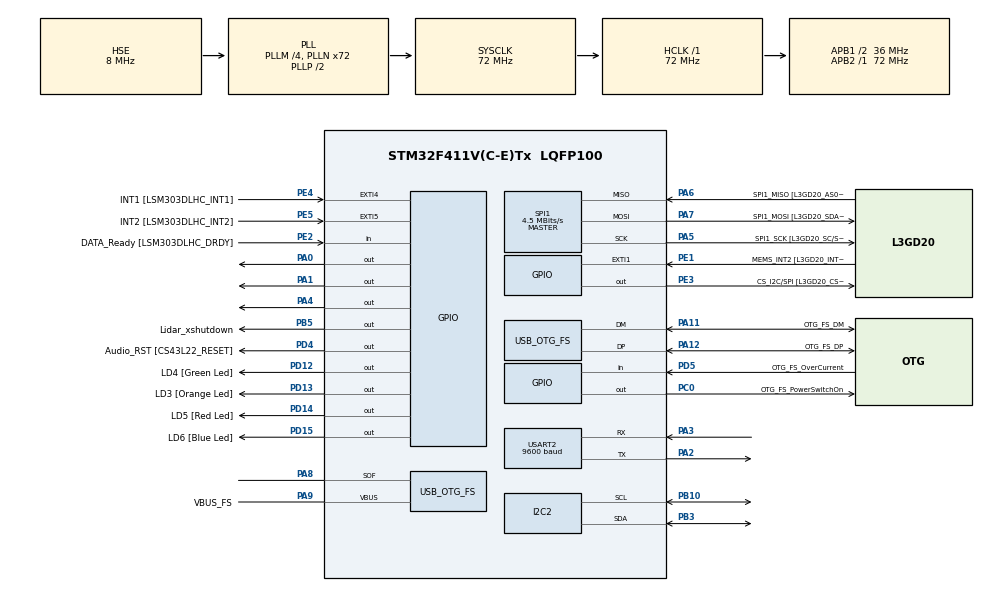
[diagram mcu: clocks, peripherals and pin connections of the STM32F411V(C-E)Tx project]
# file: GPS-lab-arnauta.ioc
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Dma.Request0=USART2_RX
Dma.USART2_RX.0.Direction=DMA_PERIPH_TO_MEMORY
Dma.USART2_RX.0.FIFOMode=DMA_FIFOMODE_DISABLE
Dma.USART2_RX.0.Instance=DMA1_Stream5
Dma.USART2_RX.0.MemDataAlignment=DMA_MDATAALIGN_BYTE
Dma.USART2_RX.0.MemInc=DMA_MINC_ENABLE
Dma.USART2_RX.0.Mode=DMA_CIRCULAR
Dma.USART2_RX.0.PeriphDataAlignment=DMA_PDATAALIGN_BYTE
Dma.USART2_RX.0.PeriphInc=DMA_PINC_DISABLE
Dma.USART2_RX.0.Priority=DMA_PRIORITY_LOW
Mcu.Family=STM32F4
Mcu.Name=STM32F411V(C-E)Tx
Mcu.Package=LQFP100
NVIC.DMA1_Stream5_IRQn=true\:0\:0\:false\:false\:true\:false\:true\:true
NVIC.OTG_FS_IRQn=true\:0\:0\:false\:false\:true\:true\:true\:true
NVIC.PriorityGroup=NVIC_PRIORITYGROUP_0
NVIC.SPI1_IRQn=true\:0\:0\:false\:false\:true\:true\:true\:true
NVIC.USART2_IRQn=true\:0\:0\:false\:false\:true\:true\:true\:true
PA0-WKUP.GPIO_Speed=GPIO_SPEED_FREQ_HIGH
PA0-WKUP.Signal=GPIO_Output
PA1.GPIO_Speed=GPIO_SPEED_FREQ_HIGH
PA1.Signal=GPIO_Output
PA10.GPIO_Label=OTG_FS_ID
PA10.Signal=USB_OTG_FS_ID
PA11.GPIO_Label=OTG_FS_DM
PA11.Mode=Device_Only
PA11.Signal=USB_OTG_FS_DM
PA12.GPIO_Label=OTG_FS_DP
PA12.Mode=Device_Only
PA12.Signal=USB_OTG_FS_DP
PA13.GPIO_Label=SWDIO
PA13.Mode=Serial_Wire
PA13.Signal=SYS_JTMS-SWDIO
PA14.GPIO_Label=SWCLK
PA14.Mode=Serial_Wire
PA14.Signal=SYS_JTCK-SWCLK
PA2.Mode=Asynchronous
PA2.Signal=USART2_TX
PA3.Mode=Asynchronous
PA3.Signal=USART2_RX
PA4.GPIO_Speed=GPIO_SPEED_FREQ_HIGH
PA4.Signal=GPIO_Output
PA5.GPIO_Label=SPI1_SCK [L3GD20_SC/SPC]
PA5.Mode=Full_Duplex_Master
PA5.Signal=SPI1_SCK
PA6.GPIO_Label=SPI1_MISO [L3GD20_AS0/SDO]
PA6.Mode=Full_Duplex_Master
PA6.Signal=SPI1_MISO
PA7.GPIO_Label=SPI1_MOSI [L3GD20_SDA/SDI/SDO]
PA7.Mode=Full_Duplex_Master
PA7.Signal=SPI1_MOSI
PA8.Mode=Activate_SOF_FS
PA8.Signal=USB_OTG_FS_SOF
PA9.GPIO_Label=VBUS_FS
PA9.Mode=Activate_VBUS
PA9.Signal=USB_OTG_FS_VBUS
PB10.GPIO_Pu=GPIO_PULLUP
PB10.GPIO_Speed=GPIO_SPEED_FREQ_LOW
PB10.Mode=I2C
PB10.Signal=I2C2_SCL
PB3.GPIO_Pu=GPIO_PULLUP
PB3.GPIO_Speed=GPIO_SPEED_FREQ_LOW
PB3.Mode=I2C
PB3.Signal=I2C2_SDA
PB5.GPIO_Label=Lidar_xshutdown
PB5.PinState=GPIO_PIN_SET
PB5.Signal=GPIO_Output
PC0.GPIO_Label=OTG_FS_PowerSwitchOn
PC0.PinState=GPIO_PIN_SET
PC0.Signal=GPIO_Output
PC10.GPIO_Label=I2S3_SCK [CS43L22_SCLK]
PC10.GPIO_Mode=GPIO_MODE_AF_PP
PC10.GPIO_PuPd=GPIO_NOPULL
PC10.GPIO_Speed=GPIO_SPEED_FREQ_LOW
PC10.Signal=I2S3_CK
PC12.GPIO_Label=I2S3_SD [CS43L22_SDIN]
PC12.GPIO_Mode=GPIO_MODE_AF_PP
PC12.GPIO_PuPd=GPIO_NOPULL
PC12.GPIO_Speed=GPIO_SPEED_FREQ_LOW
PC12.Signal=I2S3_SD
PC14-OSC32_IN.GPIO_Label=PC14-OSC32_IN
PC14-OSC32_IN.Signal=RCC_OSC32_IN
PC15-OSC32_OUT.GPIO_Label=PC15-OSC32_OUT
PC15-OSC32_OUT.Signal=RCC_OSC32_OUT
PC3.GPIO_Label=PDM_OUT [MP45DT02_DOUT]
PC3.Signal=I2S2_SD
PC7.GPIO_Label=I2S3_MCK [CS43L22_MCLK]
PC7.GPIO_Mode=GPIO_MODE_AF_PP
PC7.GPIO_PuPd=GPIO_NOPULL
PC7.GPIO_Speed=GPIO_SPEED_FREQ_LOW
PC7.Signal=I2S3_MCK
PD12.GPIO_Label=LD4 [Green Led]
PD12.GPIO_PuPd=GPIO_NOPULL
PD12.GPIO_Speed=GPIO_SPEED_FREQ_LOW
PD12.Signal=GPIO_Output
PD13.GPIO_Label=LD3 [Orange Led]
PD13.GPIO_PuPd=GPIO_NOPULL
PD13.GPIO_Speed=GPIO_SPEED_FREQ_LOW
PD13.Signal=GPIO_Output
PD14.GPIO_Label=LD5 [Red Led]
PD14.GPIO_PuPd=GPIO_NOPULL
PD14.GPIO_Speed=GPIO_SPEED_FREQ_LOW
PD14.Signal=GPIO_Output
PD15.GPIO_Label=LD6 [Blue Led]
PD15.GPIO_PuPd=GPIO_NOPULL
PD15.GPIO_Speed=GPIO_SPEED_FREQ_LOW
PD15.Signal=GPIO_Output
PD4.GPIO_Label=Audio_RST [CS43L22_RESET]
PD4.Signal=GPIO_Output
PD5.GPIO_Label=OTG_FS_OverCurrent
PD5.Signal=GPIO_Input
PE1.GPIO_Label=MEMS_INT2 [L3GD20_INT2]
PE1.GPIO_ModeDefaultEXTI=GPIO_MODE_EVT_RISING
PE1.Signal=GPXTI1
PE2.GPIO_Label=DATA_Ready [LSM303DLHC_DRDY]
PE2.Signal=GPIO_Input
PE3.GPIO_Label=CS_I2C/SPI [L3GD20_CS_I2C/SPI]
PE3.Signal=GPIO_Output
PE4.GPIO_Label=INT1 [LSM303DLHC_INT1]
PE4.GPIO_ModeDefaultEXTI=GPIO_MODE_EVT_RISING
PE4.Signal=GPXTI4
PE5.GPIO_Label=INT2 [LSM303DLHC_INT2]
PE5.GPIO_ModeDefaultEXTI=GPIO_MODE_EVT_RISING
PE5.Signal=GPXTI5
PH0\ -\ OSC_IN.GPIO_Label=PH0-OSC_IN
PH0\ -\ OSC_IN.Mode=HSE-External-Oscillator
PH0\ -\ OSC_IN.Signal=RCC_OSC_IN
PH1\ -\ OSC_OUT.GPIO_Label=PH1-OSC_OUT
PH1\ -\ OSC_OUT.Mode=HSE-External-Oscillator
PH1\ -\ OSC_OUT.Signal=RCC_OSC_OUT
ProjectManager.HeapSize=0x200
ProjectManager.StackSize=0x400
ProjectManager.TargetToolchain=STM32CubeIDE
RCC.48MHZClocksFreq_Value=48000000
RCC.AHBFreq_Value=72000000
RCC.APB1CLKDivider=RCC_HCLK_DIV2
RCC.APB1Freq_Value=36000000
RCC.APB1TimFreq_Value=72000000
RCC.APB2Freq_Value=72000000
RCC.APB2TimFreq_Value=72000000
RCC.CortexFreq_Value=72000000
RCC.HCLKFreq_Value=72000000
RCC.HSE_VALUE=8000000
RCC.HSI_VALUE=16000000
RCC.LSE_VALUE=32768
RCC.PLLI2SM=4
RCC.PLLM=4
RCC.PLLN=72
RCC.PLLQ=3
RCC.SYSCLKFreq_VALUE=72000000
RCC.SYSCLKSource=RCC_SYSCLKSOURCE_PLLCLK
RCC.VCOOutputFreq_Value=144000000
SPI1.BaudRatePrescaler=SPI_BAUDRATEPRESCALER_16
SPI1.CalculateBaudRate=4.5 MBits/s
SPI1.Direction=SPI_DIRECTION_2LINES
SPI1.Mode=SPI_MODE_MASTER
SPI1.VirtualType=VM_MASTER
USART2.BaudRate=9600
USART2.VirtualMode=VM_ASYNC
USB_DEVICE.CLASS_NAME_FS=CDC
USB_DEVICE.VirtualMode=Cdc
USB_DEVICE.VirtualModeFS=Cdc_FS
USB_OTG_FS.VirtualMode=Device_Only
VP_USB_DEVICE_VS_USB_DEVICE_CDC_FS.Mode=CDC_FS
board=STM32F411E-DISCO

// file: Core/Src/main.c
/* USER CODE BEGIN Header */
/**
  ******************************************************************************
  * @file           : main.c
  * @brief          : Main program body
  ******************************************************************************
  * @attention
  *
  * Copyright (c) 2025 STMicroelectronics.
  * All rights reserved.
  *
  * This software is licensed under terms that can be found in the LICENSE file
  * in the root directory of this software component.
  * If no LICENSE file comes with this software, it is provided AS-IS.
  *
  ******************************************************************************
  */
/* USER CODE END Header */
#include "main.h"
#include "usb_device.h"

/* USER CODE BEGIN Includes */
#include "ILI9341/ILI9341_GFX.h"
#include "ILI9341/ILI9341_STM32_Driver.h"
#include "VL53L0X/core/inc/vl53l0x_api.h"

/* USER CODE END Includes */

/* USER CODE BEGIN PTD */
void DWT_Init(void)
{
    CoreDebug->DEMCR |= CoreDebug_DEMCR_TRCENA_Msk;
    DWT->CYCCNT = 0U;
    DWT->CTRL |= DWT_CTRL_CYCCNTENA_Msk;
}
/* USER CODE END PTD */

/* USER CODE BEGIN PD */
#include "string.h"
#include "stdbool.h"
#include "stdlib.h"
#include "stdio.h"

#define BUFFER_SIZE 512
#define NMEA_MAX_SENTENCE_SIZE (uint8_t)82u
#define NMEA_SENTENCE_CRC_START '*'
#define NMEA_SENTENCE_END "\r\n"
#define NMEA_G "$GNRMC"
#define STAT_RECORDS_COUNT 128u
#define NMEA_SENTENCE_COUNT 128u
#define TERM_UTC_OUTPUT_FORMAT "\r\nUTC time: %s\r\n"
#define TERM_DATE_OUTPUT_FORMAT "\r\nCurrent date: %s\r\n"
#define TERM_STATUS_OUTPUT_FORMAT "\r\nStatus: %c\r\n"
#define TERM_POS_OUTPUT_FORMAT "\r\nLat: %s, %c; Lon: %s, %c\r\n"

#define VERSION_STR "\r\nVersion: 0.0.1, build time: 9/18/2025, UART baudrate: 9600, USB speed: FS\r\n"

#define TERM_CMD_VERSION "VER"
#define TERM_CMD_GET_POS "GET POS"
#define TERM_CMD_GET_TIME "GET TIME"
#define TERM_CMD_GET_DATE "GET DATE"
#define TERM_CMD_GET_STATUS "GET STATUS"
#define TERM_CMD_RAW_ON "RAW ON"
#define TERM_CMD_RAW_OFF "RAW OFF"

#define VL53L0X_ADDR_8BIT (0x29 << 1)

uint8_t usb_term_buffer[BUFFER_SIZE];
uint8_t usb_buffer_index = 0;
uint32_t usb_received_len = 0;

uint8_t dma_rx_buffer[BUFFER_SIZE];
uint16_t data_size = 0;
_Bool is_received_new_data = false;
_Bool is_raw_on = true;
char utc[16] = "";
char year[16] = "";
char status_A_V = '-';
char lon[16] = "";
char lon_stat = '-';
char lat[16] = "";
char lat_stat = '-';
uint32_t uid = 0U;

char distance[20] = "";

typedef struct
{
  uint16_t chip_id;
  uint16_t revision_id;
  uint16_t device_address;
} VL53L0X_Info_t;

/* USER CODE END PD */

I2C_HandleTypeDef hi2c2;

SPI_HandleTypeDef hspi1;

UART_HandleTypeDef huart2;
DMA_HandleTypeDef hdma_usart2_rx;

/* USER CODE BEGIN PV */
VL53L0X_RangingMeasurementData_t RangingData;
VL53L0X_Dev_t  vl53l0x_c;
VL53L0X_DEV Dev = &vl53l0x_c;

char str_data[BUFFER_SIZE + 1u] = {0};

typedef struct
{
	uint16_t received_bytes;
} STAT_record_t;

typedef struct
{
	STAT_record_t records[STAT_RECORDS_COUNT];
	uint16_t write_index;
	uint16_t records_count;
	uint16_t ne_count;
	uint16_t ore_count;
	uint16_t fe_count;
	uint16_t pe_count;
} STAT_t;

STAT_t statistic = {0};

void STAT_AddRecord(uint16_t bytes_count)
{
	if (statistic.write_index >= STAT_RECORDS_COUNT)
	{
		statistic.write_index = 0;
		statistic.records[statistic.write_index].received_bytes = bytes_count;

	}
	else
	{
		statistic.records[statistic.write_index].received_bytes = bytes_count;
		statistic.write_index++;
	}
	statistic.records_count++;
}

typedef struct
{
	uint8_t packet[NMEA_MAX_SENTENCE_SIZE];
	uint8_t packet_crc;
	uint8_t calculated_crc;
	_Bool is_crc_valid;
} NMEA_sentence_t;

typedef struct
{
	NMEA_sentence_t sentences[NMEA_SENTENCE_COUNT];
	uint64_t sentence_count;
	uint8_t write_index;
	uint8_t read_index;
} NMEA_que_t;

typedef struct
{
	NMEA_que_t que;
} NMEA_t;

typedef struct
{
	uint8_t addr[127];
	uint8_t dev_count;
} I2C_devices_list_t;

NMEA_t nmea = {0};

void GetDataFromNMEA(NMEA_sentence_t* sentence)
{
	if (!sentence)
		return;

	const char delimiter = ',';
	char copy_string[128];
	char* token = NULL;
	char* start_pos = NULL;
	char* end_pos = NULL;
	uint8_t frame = 0;
	uint8_t string_index = 0;

	strcpy(copy_string, sentence->packet);
	char* tmp_ptr = copy_string;
	start_pos = strchr(tmp_ptr, delimiter);
	start_pos++;
	if (*start_pos == '\0')
	{
		return;
	}

	while ((*start_pos != '\0') && (end_pos = strchr(start_pos, delimiter)))
	{
		frame++;
		if (frame == 1)
		{
			memcpy(utc, start_pos, (end_pos - start_pos));
		}
		else if (frame == 2)
		{
			if (end_pos - start_pos == 1)
				status_A_V = *start_pos;
		}
		else if (frame == 3)
		{
			memcpy(lat, start_pos, (end_pos - start_pos));
		}
		else if (frame == 4)
		{
			if (end_pos - start_pos == 1)
				lat_stat = *start_pos;
		}
		else if (frame == 5)
		{
			memcpy(lon, start_pos, (end_pos - start_pos));
		}
		else if (frame == 6)
		{
			if (end_pos - start_pos == 1)
				lon_stat = *start_pos;
		}
		else if (frame == 9)
		{
			memcpy(year, start_pos, (end_pos - start_pos));
		}

		start_pos = end_pos + 1;

	}
}

static void CheckSentenceCrc(NMEA_sentence_t* sentence)
{
	if (!sentence)
		return;

	uint8_t crc = 0;
	uint8_t index = 1;
	uint8_t packet_crc = 0;

	char* end_ptr = NULL;

	while(sentence->packet[index] != NMEA_SENTENCE_CRC_START)
	{
		crc ^= sentence->packet[index];
		index++;
	}

	packet_crc = strtol(&sentence->packet[index + 1], &end_ptr, 16);

	sentence->packet_crc = packet_crc;
	sentence->calculated_crc = crc;
	sentence->is_crc_valid = packet_crc == crc;
}

void NMEA_AddtoQueue(uint8_t* start_pos, uint8_t* end_pos)
{
	uint16_t size = end_pos - start_pos;

	if (size > NMEA_MAX_SENTENCE_SIZE)
		return;

	if (nmea.que.write_index >= NMEA_SENTENCE_COUNT)
	{
		nmea.que.write_index = 0;
	}
	memcpy(nmea.que.sentences[nmea.que.write_index].packet, start_pos, size);
	nmea.que.sentences[nmea.que.write_index].packet[size] = '\0';
	CheckSentenceCrc(&nmea.que.sentences[nmea.que.write_index]);
	GetDataFromNMEA(&nmea.que.sentences[nmea.que.write_index]);
	nmea.que.write_index++;
	nmea.que.sentence_count++;
}

NMEA_sentence_t* NMEA_ReadFromQueue(void)
{
	NMEA_sentence_t* sentence_ptr = NULL;

	if (nmea.que.sentence_count > 0)
	{
		nmea.que.sentence_count--;

		sentence_ptr = &nmea.que.sentences[nmea.que.read_index];

		nmea.que.read_index++;

		if (nmea.que.read_index == NMEA_SENTENCE_COUNT)
		{
			nmea.que.read_index = 0;
		}
	}

	return sentence_ptr;
}

void ParseGpsData(uint8_t* data_ptr, uint32_t length)
{
	char* start_pos = NULL;
	char* end_pos = NULL;
	char* is_rmc_string = NULL;

	if (data_ptr == NULL)
	{
		return;
	}

	memcpy(str_data, data_ptr, length);
	str_data[length] = '\0';
	char* tmp_ptr = str_data;

	while ((start_pos = strstr(tmp_ptr, NMEA_G)))
	{
		if ((end_pos = strstr(start_pos, NMEA_SENTENCE_END)))
		{
			NMEA_AddtoQueue(start_pos, end_pos);
			tmp_ptr = end_pos;
		}
		else
		{
			return;
		}
	}
}

void HAL_UARTEx_RxEventCallback(UART_HandleTypeDef *huart, uint16_t Size)
{
	if (huart == &huart2)
	{
		is_received_new_data = true;
		data_size = Size;
	}
	else
	{
		Error_Handler();
	}
}

void HAL_UART_ErrorCallback(UART_HandleTypeDef *huart)
{
	if (huart->ErrorCode & HAL_UART_ERROR_PE)
	{
		statistic.pe_count++;
	}
	if (huart->ErrorCode & HAL_UART_ERROR_NE)
	{
		statistic.ne_count++;
	}
	if (huart->ErrorCode & HAL_UART_ERROR_FE)
	{
		statistic.fe_count++;
	}
	if (huart->ErrorCode & HAL_UART_ERROR_ORE)
	{
		statistic.ore_count++;
	}
}

I2C_devices_list_t* I2C_CheckBusDevices(void)
{
	static I2C_devices_list_t i2c_devices = {0};

	for(uint32_t i = 0; i < 128U; i++)
	{
		uint16_t adress = i << 1;
		if(HAL_I2C_IsDeviceReady(&hi2c2, adress, 1, HAL_MAX_DELAY) == HAL_OK)
		{
			i2c_devices.addr[i2c_devices.dev_count] = adress;
			i2c_devices.dev_count++;
		}
	}
	return &i2c_devices;
}

VL53L0X_Info_t Get_VL53L0X_Info_Raw(void)
{
    VL53L0X_Info_t sensor_info = {0};
    uint8_t read_buffer = 0;
    const uint16_t vl53_address = VL53L0X_ADDR_8BIT;
    if (HAL_I2C_IsDeviceReady(&hi2c2, vl53_address, 1, HAL_MAX_DELAY) == HAL_OK)
    {
        sensor_info.device_address = vl53_address;
        if (HAL_I2C_Mem_Read(&hi2c2, vl53_address, 0xC0, I2C_MEMADD_SIZE_8BIT, &read_buffer, 1, HAL_MAX_DELAY) == HAL_OK)
        {
            sensor_info.chip_id = read_buffer;
        }
        if (HAL_I2C_Mem_Read(&hi2c2, vl53_address, 0xC2, I2C_MEMADD_SIZE_8BIT, &read_buffer, 1, HAL_MAX_DELAY) == HAL_OK)
        {
            sensor_info.revision_id = read_buffer;
        }
    }
    return sensor_info;
}

VL53L0X_Info_t my_lidar_info = {0};
/* USER CODE END PV */

void SystemClock_Config(void);
void MX_GPIO_Init(void);
static void MX_DMA_Init(void);
void MX_SPI1_Init(void);
static void MX_USART2_UART_Init(void);
static void MX_I2C2_Init(void);

/* USER CODE BEGIN 0 */
void LidarInit() {
	uint32_t refSpadCount;
	uint8_t isApertureSpads;
	uint8_t VhvSettings;
	uint8_t PhaseCal;
	VL53L0X_WaitDeviceBooted( Dev );
	VL53L0X_DataInit( Dev );
	VL53L0X_StaticInit( Dev );
	VL53L0X_PerformRefCalibration(Dev, &VhvSettings, &PhaseCal);
	VL53L0X_PerformRefSpadManagement(Dev, &refSpadCount, &isApertureSpads);
	VL53L0X_SetDeviceMode(Dev, VL53L0X_DEVICEMODE_SINGLE_RANGING);

	VL53L0X_SetLimitCheckEnable(Dev, VL53L0X_CHECKENABLE_SIGMA_FINAL_RANGE, 1);
	VL53L0X_SetLimitCheckEnable(Dev, VL53L0X_CHECKENABLE_SIGNAL_RATE_FINAL_RANGE, 1);
	VL53L0X_SetLimitCheckValue(Dev, VL53L0X_CHECKENABLE_SIGNAL_RATE_FINAL_RANGE, (FixPoint1616_t)(0.1*65536));
	VL53L0X_SetLimitCheckValue(Dev, VL53L0X_CHECKENABLE_SIGMA_FINAL_RANGE, (FixPoint1616_t)(60*65536));
	VL53L0X_SetMeasurementTimingBudgetMicroSeconds(Dev, 33000);
	VL53L0X_SetVcselPulsePeriod(Dev, VL53L0X_VCSEL_PERIOD_PRE_RANGE, 18);
	VL53L0X_SetVcselPulsePeriod(Dev, VL53L0X_VCSEL_PERIOD_FINAL_RANGE, 14);
}

void LCD_Init(void)
{
	uint16_t y_init_pos = 0u;
	char term_output[256] = {0};

	(void)snprintf(term_output, 256, "UID: %x", uid);

	ILI9341_Draw_Text(term_output, 7, y_init_pos, WHITE, 2, BLACK);
	y_init_pos += 16u;
	ILI9341_Draw_Text("UTC time: ", 7, y_init_pos, WHITE, 2, BLACK);
	y_init_pos += 16u;
	ILI9341_Draw_Text("Date: ", 7, y_init_pos, WHITE, 2, BLACK);
	y_init_pos += 16u;
	ILI9341_Draw_Text("Lat: ", 7, y_init_pos, WHITE, 2, BLACK);
	y_init_pos += 16u;
	ILI9341_Draw_Text("Lon: ", 7, y_init_pos, WHITE, 2, BLACK);
	y_init_pos += 16u;
    ILI9341_Draw_Text("Distance: ", 7, y_init_pos, WHITE, 2, BLACK);
    y_init_pos += 16u;
    ILI9341_Draw_Text("Lidar ID:", 7, y_init_pos, WHITE, 2, BLACK);
    y_init_pos += 16u;
}

void LCD_Update(void)
{
	uint16_t y_init_pos = 16u;
	const uint16_t x_update_pos = 10* 6 * 2;
	char term_output[256] = {0};
	float distanceInCm = (float)(RangingData.RangeMilliMeter)/10;
	char distance_str[20];
	uint16_t mm = RangingData.RangeMilliMeter;
	uint16_t cm_whole = mm / 10;
	uint16_t cm_frac = mm % 10;

	(void)snprintf(term_output, 256, "%s", utc);
	ILI9341_Draw_Text(term_output, x_update_pos, y_init_pos, WHITE, 2, BLACK);
	y_init_pos += 16u;

	(void)snprintf(term_output, 256, "%s", year);
	ILI9341_Draw_Text(term_output, x_update_pos, y_init_pos, WHITE, 2, BLACK);
	y_init_pos += 16u;

	(void)snprintf(term_output, 256, "%s, %c", lat, lat_stat);
	ILI9341_Draw_Text(term_output, x_update_pos, y_init_pos, WHITE, 2, BLACK);
	y_init_pos += 16u;

	(void)snprintf(term_output, 256, "%s, %c", lon, lon_stat);
	ILI9341_Draw_Text(term_output, x_update_pos, y_init_pos, WHITE, 2, BLACK);
	y_init_pos += 16u;

	if (mm == 0 || RangingData.RangeStatus != 0)
	{
	  (void)snprintf(distance_str, sizeof(distance_str), "N/A        ");
	}
	else
	{
       snprintf(distance_str, sizeof(distance_str), "%u.%u cm     ", cm_whole, cm_frac);
	}

	ILI9341_Draw_Text(distance_str, x_update_pos, y_init_pos, YELLOW, 2, BLACK);
	y_init_pos += 16u;

	(void)snprintf(term_output, 256, "0x%X   ", my_lidar_info.chip_id);
	ILI9341_Draw_Text(term_output, x_update_pos, y_init_pos, YELLOW, 2, BLACK);
	y_init_pos += 16u;
}

I2C_devices_list_t i2c_dev_list = {0};
/* USER CODE END 0 */

int main(void)
{

  /* USER CODE BEGIN 1 */
	uint8_t buffer[] = "\r\n";

  /* USER CODE END 1 */

  /* MCU Configuration--------------------------------------------------------*/

  /* Reset of all peripherals, Initializes the Flash interface and the Systick. */
  HAL_Init();

  /* Configure the system clock */
  SystemClock_Config();

  /* Initialize all configured peripherals */
  MX_GPIO_Init();
  MX_DMA_Init();
  MX_SPI1_Init();
  MX_USART2_UART_Init();
  MX_USB_DEVICE_Init();
  MX_I2C2_Init();
  /* USER CODE BEGIN 2 */

  __enable_irq();
  rng_seed(DWT->CYCCNT);
  uid = xorshift32();
  (void)HAL_UARTEx_ReceiveToIdle_DMA(&huart2, dma_rx_buffer, BUFFER_SIZE);
  Dev->I2cHandle = &hi2c2;
  Dev->I2cDevAddr = VL53L0X_ADDR_8BIT;

  i2c_dev_list = *(I2C_CheckBusDevices());
  for (uint32_t i = 0; i < i2c_dev_list.dev_count; ++i)
  {
	  if (i2c_dev_list.addr[i] == VL53L0X_ADDR_8BIT)
	  {
		  HAL_GPIO_WritePin(Lidar_xshutdown_GPIO_Port, Lidar_xshutdown_Pin, GPIO_PIN_RESET);
		  HAL_Delay(20);
		  HAL_GPIO_WritePin(Lidar_xshutdown_GPIO_Port, Lidar_xshutdown_Pin, GPIO_PIN_SET);
		  HAL_Delay(20);
		  LidarInit();
	  }
  }

  my_lidar_info = Get_VL53L0X_Info_Raw();
  ILI9341_Init();
  ILI9341_Fill_Screen(BLACK);
  ILI9341_Set_Rotation(SCREEN_HORIZONTAL_2);

  /* USER CODE END 2 */

  /* Infinite loop */
  /* USER CODE BEGIN WHILE */
  LCD_Init();
  while (1)
  {

    /* USER CODE END WHILE */

    /* USER CODE BEGIN 3 */
    if(is_received_new_data == true)
	  {
	   is_received_new_data = false;

	   ParseGpsData(dma_rx_buffer, data_size);
	   STAT_AddRecord(data_size);

	   NMEA_sentence_t* sentence_ptr = NMEA_ReadFromQueue();
	   char cdc_string[128] = {0};
	   char term_output[256] = {0};

   if (sentence_ptr != NULL && is_raw_on)
   {
	   CDC_Transmit_FS(sentence_ptr->packet, strlen((char*)sentence_ptr->packet));
	   CDC_Transmit_FS(buffer, strlen(buffer));
   }
	   }
      if (usb_received_len > 0)
      {
   	   char term_output[256] = {0};

   	   if (strcmp(usb_term_buffer, TERM_CMD_VERSION) == 0)
   	   {
   		   CDC_Transmit_FS(VERSION_STR, strlen(VERSION_STR));
   	   }
   	   else if (strcmp(usb_term_buffer, TERM_CMD_GET_POS) == 0)
   	   {
   		   (void)snprintf(term_output, 256, TERM_POS_OUTPUT_FORMAT, lat, lat_stat, lon, lon_stat);
   		   CDC_Transmit_FS(term_output, sizeof(term_output));
   	   }
   	   else if (strcmp(usb_term_buffer, TERM_CMD_GET_TIME) == 0)
   	   {
   		   (void)snprintf(term_output, 256, TERM_UTC_OUTPUT_FORMAT, utc);
   		   CDC_Transmit_FS(term_output, strlen(term_output));
   	   }
   	   else if (strcmp(usb_term_buffer, TERM_CMD_GET_DATE) == 0)
   	   {
   	       (void)snprintf(term_output, 256, TERM_DATE_OUTPUT_FORMAT, year);
   	       CDC_Transmit_FS(term_output, strlen(term_output));
   	   }
   	   else if (strcmp(usb_term_buffer, TERM_CMD_RAW_ON) == 0)
   	   {
   		   is_raw_on = true;
   	   }
   	   else if (strcmp(usb_term_buffer, TERM_CMD_RAW_OFF) == 0)
   	   {
   	       is_raw_on = false;
   	   }
		   else if (strcmp(usb_term_buffer, TERM_CMD_GET_STATUS) == 0)
		   {
			   (void)snprintf(term_output, 256, TERM_STATUS_OUTPUT_FORMAT, status_A_V);
			   CDC_Transmit_FS(term_output, strlen(term_output));
		   }
   	   else
   	   {

   	   }
   	   usb_received_len = 0;
   	   memset(usb_term_buffer, 0, sizeof(usb_term_buffer));
      }

   VL53L0X_Error st = VL53L0X_PerformSingleRangingMeasurement(Dev, &RangingData);
   if (st == VL53L0X_ERROR_NONE)
   {

   }
   else
   {

   }

   LCD_Update();
   HAL_Delay(100);
  }
  /* USER CODE END 3 */
}

void SystemClock_Config(void)
{
  RCC_OscInitTypeDef RCC_OscInitStruct = {0};
  RCC_ClkInitTypeDef RCC_ClkInitStruct = {0};

  /** Configure the main internal regulator output voltage
  */
  __HAL_RCC_PWR_CLK_ENABLE();
  __HAL_PWR_VOLTAGESCALING_CONFIG(PWR_REGULATOR_VOLTAGE_SCALE1);

  /** Initializes the RCC Oscillators according to the specified parameters
  * in the RCC_OscInitTypeDef structure.
  */
  RCC_OscInitStruct.OscillatorType = RCC_OSCILLATORTYPE_HSE;
  RCC_OscInitStruct.HSEState = RCC_HSE_ON;
  RCC_OscInitStruct.PLL.PLLState = RCC_PLL_ON;
  RCC_OscInitStruct.PLL.PLLSource = RCC_PLLSOURCE_HSE;
  RCC_OscInitStruct.PLL.PLLM = 4;
  RCC_OscInitStruct.PLL.PLLN = 72;
  RCC_OscInitStruct.PLL.PLLP = RCC_PLLP_DIV2;
  RCC_OscInitStruct.PLL.PLLQ = 3;
  if (HAL_RCC_OscConfig(&RCC_OscInitStruct) != HAL_OK)
  {
    Error_Handler();
  }

  /** Initializes the CPU, AHB and APB buses clocks
  */
  RCC_ClkInitStruct.ClockType = RCC_CLOCKTYPE_HCLK|RCC_CLOCKTYPE_SYSCLK
                              |RCC_CLOCKTYPE_PCLK1|RCC_CLOCKTYPE_PCLK2;
  RCC_ClkInitStruct.SYSCLKSource = RCC_SYSCLKSOURCE_PLLCLK;
  RCC_ClkInitStruct.AHBCLKDivider = RCC_SYSCLK_DIV1;
  RCC_ClkInitStruct.APB1CLKDivider = RCC_HCLK_DIV2;
  RCC_ClkInitStruct.APB2CLKDivider = RCC_HCLK_DIV1;

  if (HAL_RCC_ClockConfig(&RCC_ClkInitStruct, FLASH_LATENCY_2) != HAL_OK)
  {
    Error_Handler();
  }
}

static void MX_I2C2_Init(void)
{

  hi2c2.Instance = I2C2;
  hi2c2.Init.ClockSpeed = 100000;
  hi2c2.Init.DutyCycle = I2C_DUTYCYCLE_2;
  hi2c2.Init.OwnAddress1 = 0;
  hi2c2.Init.AddressingMode = I2C_ADDRESSINGMODE_7BIT;
  hi2c2.Init.DualAddressMode = I2C_DUALADDRESS_DISABLE;
  hi2c2.Init.OwnAddress2 = 0;
  hi2c2.Init.GeneralCallMode = I2C_GENERALCALL_DISABLE;
  hi2c2.Init.NoStretchMode = I2C_NOSTRETCH_DISABLE;
  if (HAL_I2C_Init(&hi2c2) != HAL_OK)
  {
    Error_Handler();
  }

}

void MX_SPI1_Init(void)
{

  /* SPI1 parameter configuration*/
  hspi1.Instance = SPI1;
  hspi1.Init.Mode = SPI_MODE_MASTER;
  hspi1.Init.Direction = SPI_DIRECTION_2LINES;
  hspi1.Init.DataSize = SPI_DATASIZE_8BIT;
  hspi1.Init.CLKPolarity = SPI_POLARITY_LOW;
  hspi1.Init.CLKPhase = SPI_PHASE_1EDGE;
  hspi1.Init.NSS = SPI_NSS_SOFT;
  hspi1.Init.BaudRatePrescaler = SPI_BAUDRATEPRESCALER_16;
  hspi1.Init.FirstBit = SPI_FIRSTBIT_MSB;
  hspi1.Init.TIMode = SPI_TIMODE_DISABLE;
  hspi1.Init.CRCCalculation = SPI_CRCCALCULATION_DISABLE;
  hspi1.Init.CRCPolynomial = 10;
  if (HAL_SPI_Init(&hspi1) != HAL_OK)
  {
    Error_Handler();
  }

}

static void MX_USART2_UART_Init(void)
{

  huart2.Instance = USART2;
  huart2.Init.BaudRate = 9600;
  huart2.Init.WordLength = UART_WORDLENGTH_8B;
  huart2.Init.StopBits = UART_STOPBITS_1;
  huart2.Init.Parity = UART_PARITY_NONE;
  huart2.Init.Mode = UART_MODE_TX_RX;
  huart2.Init.HwFlowCtl = UART_HWCONTROL_NONE;
  huart2.Init.OverSampling = UART_OVERSAMPLING_16;
  if (HAL_UART_Init(&huart2) != HAL_OK)
  {
    Error_Handler();
  }

}

static void MX_DMA_Init(void)
{

  /* DMA controller clock enable */
  __HAL_RCC_DMA1_CLK_ENABLE();

  /* DMA interrupt init */
  /* DMA1_Stream5_IRQn interrupt configuration */
  HAL_NVIC_SetPriority(DMA1_Stream5_IRQn, 0, 0);
  HAL_NVIC_EnableIRQ(DMA1_Stream5_IRQn);

}

void MX_GPIO_Init(void)
{
  GPIO_InitTypeDef GPIO_InitStruct = {0};

  /* GPIO Ports Clock Enable */
  __HAL_RCC_GPIOE_CLK_ENABLE();
  __HAL_RCC_GPIOC_CLK_ENABLE();
  __HAL_RCC_GPIOH_CLK_ENABLE();
  __HAL_RCC_GPIOA_CLK_ENABLE();
  __HAL_RCC_GPIOB_CLK_ENABLE();
  __HAL_RCC_GPIOD_CLK_ENABLE();

  /*Configure GPIO pin Output Level */
  HAL_GPIO_WritePin(CS_I2C_SPI_GPIO_Port, CS_I2C_SPI_Pin, GPIO_PIN_RESET);

  /*Configure GPIO pin Output Level */
  HAL_GPIO_WritePin(OTG_FS_PowerSwitchOn_GPIO_Port, OTG_FS_PowerSwitchOn_Pin, GPIO_PIN_SET);

  /*Configure GPIO pin Output Level */
  HAL_GPIO_WritePin(GPIOA, GPIO_PIN_0|GPIO_PIN_1|GPIO_PIN_4, GPIO_PIN_RESET);

  /*Configure GPIO pin Output Level */
  HAL_GPIO_WritePin(GPIOD, LD4_Pin|LD3_Pin|LD5_Pin|LD6_Pin
                          |Audio_RST_Pin, GPIO_PIN_RESET);

  /*Configure GPIO pin Output Level */
  HAL_GPIO_WritePin(Lidar_xshutdown_GPIO_Port, Lidar_xshutdown_Pin, GPIO_PIN_SET);

  /*Configure GPIO pin : DATA_Ready_Pin */
  GPIO_InitStruct.Pin = DATA_Ready_Pin;
  GPIO_InitStruct.Mode = GPIO_MODE_INPUT;
  GPIO_InitStruct.Pull = GPIO_NOPULL;
  HAL_GPIO_Init(DATA_Ready_GPIO_Port, &GPIO_InitStruct);

  /*Configure GPIO pin : CS_I2C_SPI_Pin */
  GPIO_InitStruct.Pin = CS_I2C_SPI_Pin;
  GPIO_InitStruct.Mode = GPIO_MODE_OUTPUT_PP;
  GPIO_InitStruct.Pull = GPIO_NOPULL;
  GPIO_InitStruct.Speed = GPIO_SPEED_FREQ_LOW;
  HAL_GPIO_Init(CS_I2C_SPI_GPIO_Port, &GPIO_InitStruct);

  /*Configure GPIO pins : INT1_Pin INT2_Pin MEMS_INT2_Pin */
  GPIO_InitStruct.Pin = INT1_Pin|INT2_Pin|MEMS_INT2_Pin;
  GPIO_InitStruct.Mode = GPIO_MODE_EVT_RISING;
  GPIO_InitStruct.Pull = GPIO_NOPULL;
  HAL_GPIO_Init(GPIOE, &GPIO_InitStruct);

  /*Configure GPIO pin : OTG_FS_PowerSwitchOn_Pin */
  GPIO_InitStruct.Pin = OTG_FS_PowerSwitchOn_Pin;
  GPIO_InitStruct.Mode = GPIO_MODE_OUTPUT_PP;
  GPIO_InitStruct.Pull = GPIO_NOPULL;
  GPIO_InitStruct.Speed = GPIO_SPEED_FREQ_LOW;
  HAL_GPIO_Init(OTG_FS_PowerSwitchOn_GPIO_Port, &GPIO_InitStruct);

  /*Configure GPIO pin : PDM_OUT_Pin */
  GPIO_InitStruct.Pin = PDM_OUT_Pin;
  GPIO_InitStruct.Mode = GPIO_MODE_AF_PP;
  GPIO_InitStruct.Pull = GPIO_NOPULL;
  GPIO_InitStruct.Speed = GPIO_SPEED_FREQ_LOW;
  GPIO_InitStruct.Alternate = GPIO_AF5_SPI2;
  HAL_GPIO_Init(PDM_OUT_GPIO_Port, &GPIO_InitStruct);

  /*Configure GPIO pins : PA0 PA1 PA4 */
  GPIO_InitStruct.Pin = GPIO_PIN_0|GPIO_PIN_1|GPIO_PIN_4;
  GPIO_InitStruct.Mode = GPIO_MODE_OUTPUT_PP;
  GPIO_InitStruct.Pull = GPIO_NOPULL;
  GPIO_InitStruct.Speed = GPIO_SPEED_FREQ_HIGH;
  HAL_GPIO_Init(GPIOA, &GPIO_InitStruct);

  /*Configure GPIO pins : LD4_Pin LD3_Pin LD5_Pin LD6_Pin
                           Audio_RST_Pin */
  GPIO_InitStruct.Pin = LD4_Pin|LD3_Pin|LD5_Pin|LD6_Pin
                          |Audio_RST_Pin;
  GPIO_InitStruct.Mode = GPIO_MODE_OUTPUT_PP;
  GPIO_InitStruct.Pull = GPIO_NOPULL;
  GPIO_InitStruct.Speed = GPIO_SPEED_FREQ_LOW;
  HAL_GPIO_Init(GPIOD, &GPIO_InitStruct);

  /*Configure GPIO pins : I2S3_MCK_Pin I2S3_SCK_Pin I2S3_SD_Pin */
  GPIO_InitStruct.Pin = I2S3_MCK_Pin|I2S3_SCK_Pin|I2S3_SD_Pin;
  GPIO_InitStruct.Mode = GPIO_MODE_AF_PP;
  GPIO_InitStruct.Pull = GPIO_NOPULL;
  GPIO_InitStruct.Speed = GPIO_SPEED_FREQ_LOW;
  GPIO_InitStruct.Alternate = GPIO_AF6_SPI3;
  HAL_GPIO_Init(GPIOC, &GPIO_InitStruct);

  /*Configure GPIO pin : OTG_FS_OverCurrent_Pin */
  GPIO_InitStruct.Pin = OTG_FS_OverCurrent_Pin;
  GPIO_InitStruct.Mode = GPIO_MODE_INPUT;
  GPIO_InitStruct.Pull = GPIO_NOPULL;
  HAL_GPIO_Init(OTG_FS_OverCurrent_GPIO_Port, &GPIO_InitStruct);

  /*Configure GPIO pin : Lidar_xshutdown_Pin */
  GPIO_InitStruct.Pin = Lidar_xshutdown_Pin;
  GPIO_InitStruct.Mode = GPIO_MODE_OUTPUT_PP;
  GPIO_InitStruct.Pull = GPIO_NOPULL;
  GPIO_InitStruct.Speed = GPIO_SPEED_FREQ_LOW;
  HAL_GPIO_Init(Lidar_xshutdown_GPIO_Port, &GPIO_InitStruct);

}

void Error_Handler(void)
{
  __disable_irq();
  while (1)
  {
  }
}
